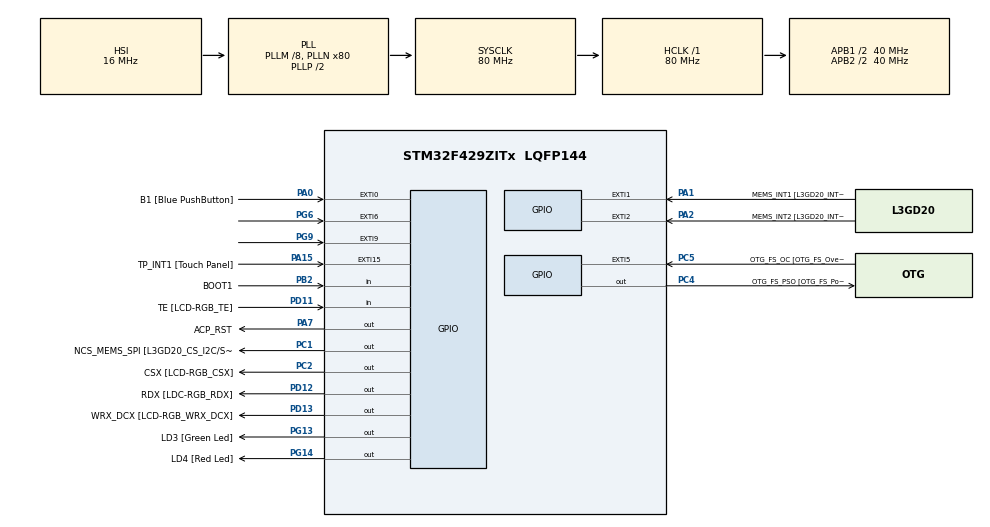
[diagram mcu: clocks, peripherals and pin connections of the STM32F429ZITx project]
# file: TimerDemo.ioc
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FREERTOS.Queues01=myQueue01,16,uint16_t,NULL,Dynamic,NULL,NULL
FREERTOS.Tasks01=defaultTask,0,128,StartDefaultTask,Default,NULL,Dynamic,NULL,NULL;queueProcessing,0,128,startQueueProcessing,Default,NULL,Dynamic,NULL,NULL
Mcu.Family=STM32F4
Mcu.Name=STM32F429ZITx
Mcu.Package=LQFP144
NVIC.EXTI9_5_IRQn=true\:5\:0\:false\:false\:true\:true\:true
NVIC.PriorityGroup=NVIC_PRIORITYGROUP_4
NVIC.TIM1_UP_TIM10_IRQn=true\:0\:0\:false\:false\:true\:false\:false
NVIC.TIM6_DAC_IRQn=true\:5\:0\:false\:false\:true\:true\:true
NVIC.TimeBase=TIM1_UP_TIM10_IRQn
NVIC.TimeBaseIP=TIM1
PA0/WKUP.GPIO_Label=B1 [Blue PushButton]
PA0/WKUP.GPIO_ModeDefaultEXTI=GPIO_MODE_EVT_RISING
PA0/WKUP.GPIO_PuPd=GPIO_NOPULL
PA0/WKUP.Signal=GPXTI0
PA1.GPIO_Label=MEMS_INT1 [L3GD20_INT1]
PA1.GPIO_ModeDefaultEXTI=GPIO_MODE_EVT_RISING
PA1.GPIO_PuPd=GPIO_NOPULL
PA1.Signal=GPXTI1
PA10.GPIO_Label=STLINK_TX [STM32F103CBT6_PA2]
PA10.Signal=USART1_RX
PA11.GPIO_Label=R4
PA11.GPIO_Mode=GPIO_MODE_AF_PP
PA11.GPIO_PuPd=GPIO_NOPULL
PA11.GPIO_Speed=GPIO_SPEED_FREQ_LOW
PA11.Signal=LTDC_R4
PA12.GPIO_Label=R5
PA12.GPIO_Mode=GPIO_MODE_AF_PP
PA12.GPIO_PuPd=GPIO_NOPULL
PA12.GPIO_Speed=GPIO_SPEED_FREQ_LOW
PA12.Signal=LTDC_R5
PA13.GPIO_Label=SWDIO
PA13.Mode=Serial_Wire
PA13.Signal=SYS_JTMS-SWDIO
PA14.GPIO_Label=SWCLK
PA14.Mode=Serial_Wire
PA14.Signal=SYS_JTCK-SWCLK
PA15.GPIO_Label=TP_INT1 [Touch Panel]
PA15.GPIO_ModeDefaultEXTI=GPIO_MODE_EVT_RISING
PA15.GPIO_PuPd=GPIO_NOPULL
PA15.Signal=GPXTI15
PA2.GPIO_Label=MEMS_INT2 [L3GD20_INT2]
PA2.GPIO_ModeDefaultEXTI=GPIO_MODE_EVT_RISING
PA2.GPIO_PuPd=GPIO_NOPULL
PA2.Signal=GPXTI2
PA3.GPIO_Label=B5
PA3.GPIO_Mode=GPIO_MODE_AF_PP
PA3.GPIO_PuPd=GPIO_NOPULL
PA3.GPIO_Speed=GPIO_SPEED_FREQ_LOW
PA3.Signal=LTDC_B5
PA4.GPIO_Label=VSYNC
PA4.GPIO_Mode=GPIO_MODE_AF_PP
PA4.GPIO_PuPd=GPIO_NOPULL
PA4.GPIO_Speed=GPIO_SPEED_FREQ_LOW
PA4.Signal=LTDC_VSYNC
PA6.GPIO_Label=G2
PA6.GPIO_Mode=GPIO_MODE_AF_PP
PA6.GPIO_PuPd=GPIO_NOPULL
PA6.GPIO_Speed=GPIO_SPEED_FREQ_LOW
PA6.Signal=LTDC_G2
PA7.GPIO_Label=ACP_RST
PA7.GPIO_Mode=GPIO_MODE_OUTPUT_PP
PA7.GPIO_PuPd=GPIO_NOPULL
PA7.GPIO_Speed=GPIO_SPEED_FREQ_LOW
PA7.Signal=GPIO_Output
PA8.GPIO_Label=I2C3_SCL [ACP/RF_SCL]
PA8.GPIO_Mode=GPIO_MODE_AF_OD
PA8.GPIO_PuPd=GPIO_NOPULL
PA8.GPIO_Speed=GPIO_SPEED_FREQ_LOW
PA8.Signal=I2C3_SCL
PA9.GPIO_Label=STLINK_RX [STM32F103CBT6_PA3]
PA9.Signal=USART1_TX
PB0.GPIO_Label=R3
PB0.GPIO_Mode=GPIO_MODE_AF_PP
PB0.GPIO_PuPd=GPIO_NOPULL
PB0.GPIO_Speed=GPIO_SPEED_FREQ_LOW
PB0.Signal=LTDC_R3
PB1.GPIO_Label=R6
PB1.GPIO_Mode=GPIO_MODE_AF_PP
PB1.GPIO_PuPd=GPIO_NOPULL
PB1.GPIO_Speed=GPIO_SPEED_FREQ_LOW
PB1.Signal=LTDC_R6
PB10.GPIO_Label=G4
PB10.GPIO_Mode=GPIO_MODE_AF_PP
PB10.GPIO_PuPd=GPIO_NOPULL
PB10.GPIO_Speed=GPIO_SPEED_FREQ_LOW
PB10.Signal=LTDC_G4
PB11.GPIO_Label=G5
PB11.GPIO_Mode=GPIO_MODE_AF_PP
PB11.GPIO_PuPd=GPIO_NOPULL
PB11.GPIO_Speed=GPIO_SPEED_FREQ_LOW
PB11.Signal=LTDC_G5
PB12.GPIO_Label=OTG_FS_ID
PB12.GPIO_Mode=GPIO_MODE_AF_PP
PB12.GPIO_PuPd=GPIO_NOPULL
PB12.GPIO_Speed=GPIO_SPEED_FREQ_LOW
PB12.Signal=USB_OTG_HS_ID
PB13.GPIO_Label=VBUS_FS
PB13.GPIO_Mode=GPIO_MODE_INPUT
PB13.GPIO_PuPd=GPIO_NOPULL
PB13.Signal=USB_OTG_HS_VBUS
PB14.GPIO_Label=OTG_FS_DM
PB14.GPIO_Mode=GPIO_MODE_AF_PP
PB14.GPIO_PuPd=GPIO_NOPULL
PB14.GPIO_Speed=GPIO_SPEED_FREQ_LOW
PB14.Signal=USB_OTG_HS_DM
PB15.GPIO_Label=OTG_FS_DP
PB15.GPIO_Mode=GPIO_MODE_AF_PP
PB15.GPIO_PuPd=GPIO_NOPULL
PB15.GPIO_Speed=GPIO_SPEED_FREQ_LOW
PB15.Signal=USB_OTG_HS_DP
PB2/BOOT1.GPIO_Label=BOOT1
PB2/BOOT1.GPIO_Mode=GPIO_MODE_INPUT
PB2/BOOT1.GPIO_PuPd=GPIO_NOPULL
PB2/BOOT1.Signal=GPIO_Input
PB5.GPIO_Label=SDCKE1
PB5.GPIO_Mode=GPIO_MODE_AF_PP
PB5.GPIO_PuPd=GPIO_NOPULL
PB5.GPIO_Speed=GPIO_SPEED_FREQ_VERY_HIGH
PB5.Signal=FMC_SDCKE1
PB6.GPIO_Label=SDNE1 [SDRAM_CS]
PB6.GPIO_Mode=GPIO_MODE_AF_PP
PB6.GPIO_PuPd=GPIO_NOPULL
PB6.GPIO_Speed=GPIO_SPEED_FREQ_VERY_HIGH
PB6.Signal=FMC_SDNE1
PB8.GPIO_Label=B6
PB8.GPIO_Mode=GPIO_MODE_AF_PP
PB8.GPIO_PuPd=GPIO_NOPULL
PB8.GPIO_Speed=GPIO_SPEED_FREQ_LOW
PB8.Signal=LTDC_B6
PB9.GPIO_Label=B7
PB9.GPIO_Mode=GPIO_MODE_AF_PP
PB9.GPIO_PuPd=GPIO_NOPULL
PB9.GPIO_Speed=GPIO_SPEED_FREQ_LOW
PB9.Signal=LTDC_B7
PC0.GPIO_Label=SDNWE
PC0.GPIO_Mode=GPIO_MODE_AF_PP
PC0.GPIO_PuPd=GPIO_NOPULL
PC0.GPIO_Speed=GPIO_SPEED_FREQ_VERY_HIGH
PC0.Signal=FMC_SDNWE
PC1.GPIO_Label=NCS_MEMS_SPI [L3GD20_CS_I2C/SPI]
PC1.GPIO_Mode=GPIO_MODE_OUTPUT_PP
PC1.GPIO_PuPd=GPIO_NOPULL
PC1.GPIO_Speed=GPIO_SPEED_FREQ_LOW
PC1.Signal=GPIO_Output
PC10.GPIO_Label=R2
PC10.GPIO_Mode=GPIO_MODE_AF_PP
PC10.GPIO_PuPd=GPIO_NOPULL
PC10.GPIO_Speed=GPIO_SPEED_FREQ_LOW
PC10.Signal=LTDC_R2
PC14/OSC32_IN.GPIO_Label=PC14-OSC32_IN
PC14/OSC32_IN.Signal=RCC_OSC32_IN
PC15/OSC32_OUT.GPIO_Label=PC15-OSC32_OUT
PC15/OSC32_OUT.Signal=RCC_OSC32_OUT
PC2.GPIO_Label=CSX [LCD-RGB_CSX]
PC2.GPIO_Mode=GPIO_MODE_OUTPUT_PP
PC2.GPIO_PuPd=GPIO_NOPULL
PC2.GPIO_Speed=GPIO_SPEED_FREQ_LOW
PC2.Signal=GPIO_Output
PC4.GPIO_Label=OTG_FS_PSO [OTG_FS_PowerSwitchOn]
PC4.GPIO_Mode=GPIO_MODE_OUTPUT_PP
PC4.GPIO_PuPd=GPIO_NOPULL
PC4.GPIO_Speed=GPIO_SPEED_FREQ_LOW
PC4.Signal=GPIO_Output
PC5.GPIO_Label=OTG_FS_OC [OTG_FS_OverCurrent]
PC5.GPIO_ModeDefaultEXTI=GPIO_MODE_EVT_RISING
PC5.Signal=GPXTI5
PC6.GPIO_Label=HSYNC
PC6.GPIO_Mode=GPIO_MODE_AF_PP
PC6.GPIO_PuPd=GPIO_NOPULL
PC6.GPIO_Speed=GPIO_SPEED_FREQ_LOW
PC6.Signal=LTDC_HSYNC
PC7.GPIO_Label=G6
PC7.GPIO_Mode=GPIO_MODE_AF_PP
PC7.GPIO_PuPd=GPIO_NOPULL
PC7.GPIO_Speed=GPIO_SPEED_FREQ_LOW
PC7.Signal=LTDC_G6
PC9.GPIO_Label=I2C3_SDA [ACP/RF_SDA]
PC9.GPIO_Mode=GPIO_MODE_AF_OD
PC9.GPIO_PuPd=GPIO_NOPULL
PC9.GPIO_Speed=GPIO_SPEED_FREQ_LOW
PC9.Signal=I2C3_SDA
PD0.GPIO_Label=D2
PD0.GPIO_Mode=GPIO_MODE_AF_PP
PD0.GPIO_PuPd=GPIO_NOPULL
PD0.GPIO_Speed=GPIO_SPEED_FREQ_VERY_HIGH
PD0.Signal=FMC_D2_DA2
PD1.GPIO_Label=D3
PD1.GPIO_Mode=GPIO_MODE_AF_PP
PD1.GPIO_PuPd=GPIO_NOPULL
PD1.GPIO_Speed=GPIO_SPEED_FREQ_VERY_HIGH
PD1.Signal=FMC_D3_DA3
PD10.GPIO_Label=D15
PD10.GPIO_Mode=GPIO_MODE_AF_PP
PD10.GPIO_PuPd=GPIO_NOPULL
PD10.GPIO_Speed=GPIO_SPEED_FREQ_VERY_HIGH
PD10.Signal=FMC_D15_DA15
PD11.GPIO_Label=TE [LCD-RGB_TE]
PD11.GPIO_Mode=GPIO_MODE_INPUT
PD11.GPIO_PuPd=GPIO_NOPULL
PD11.Signal=GPIO_Input
PD12.GPIO_Label=RDX [LDC-RGB_RDX]
PD12.GPIO_Mode=GPIO_MODE_OUTPUT_PP
PD12.GPIO_PuPd=GPIO_NOPULL
PD12.GPIO_Speed=GPIO_SPEED_FREQ_LOW
PD12.Signal=GPIO_Output
PD13.GPIO_Label=WRX_DCX [LCD-RGB_WRX_DCX]
PD13.GPIO_Mode=GPIO_MODE_OUTPUT_PP
PD13.GPIO_PuPd=GPIO_NOPULL
PD13.GPIO_Speed=GPIO_SPEED_FREQ_LOW
PD13.Signal=GPIO_Output
PD14.GPIO_Label=D0
PD14.GPIO_Mode=GPIO_MODE_AF_PP
PD14.GPIO_PuPd=GPIO_NOPULL
PD14.GPIO_Speed=GPIO_SPEED_FREQ_VERY_HIGH
PD14.Signal=FMC_D0_DA0
PD15.GPIO_Label=D1
PD15.GPIO_Mode=GPIO_MODE_AF_PP
PD15.GPIO_PuPd=GPIO_NOPULL
PD15.GPIO_Speed=GPIO_SPEED_FREQ_VERY_HIGH
PD15.Signal=FMC_D1_DA1
PD3.GPIO_Label=G7
PD3.GPIO_Mode=GPIO_MODE_AF_PP
PD3.GPIO_PuPd=GPIO_NOPULL
PD3.GPIO_Speed=GPIO_SPEED_FREQ_LOW
PD3.Signal=LTDC_G7
PD6.GPIO_Label=B2
PD6.GPIO_Mode=GPIO_MODE_AF_PP
PD6.GPIO_PuPd=GPIO_NOPULL
PD6.GPIO_Speed=GPIO_SPEED_FREQ_LOW
PD6.Signal=LTDC_B2
PD8.GPIO_Label=D13
PD8.GPIO_Mode=GPIO_MODE_AF_PP
PD8.GPIO_PuPd=GPIO_NOPULL
PD8.GPIO_Speed=GPIO_SPEED_FREQ_VERY_HIGH
PD8.Signal=FMC_D13_DA13
PD9.GPIO_Label=D14
PD9.GPIO_Mode=GPIO_MODE_AF_PP
PD9.GPIO_PuPd=GPIO_NOPULL
PD9.GPIO_Speed=GPIO_SPEED_FREQ_VERY_HIGH
PD9.Signal=FMC_D14_DA14
PE0.GPIO_Label=NBL0 [SDRAM_LDQM]
PE0.GPIO_Mode=GPIO_MODE_AF_PP
PE0.GPIO_PuPd=GPIO_NOPULL
PE0.GPIO_Speed=GPIO_SPEED_FREQ_VERY_HIGH
PE0.Signal=FMC_NBL0
PE1.GPIO_Label=NBL1 [SDRAM_UDQM]
PE1.GPIO_Mode=GPIO_MODE_AF_PP
PE1.GPIO_PuPd=GPIO_NOPULL
PE1.GPIO_Speed=GPIO_SPEED_FREQ_VERY_HIGH
PE1.Signal=FMC_NBL1
PE10.GPIO_Label=D7
PE10.GPIO_Mode=GPIO_MODE_AF_PP
PE10.GPIO_PuPd=GPIO_NOPULL
PE10.GPIO_Speed=GPIO_SPEED_FREQ_VERY_HIGH
PE10.Signal=FMC_D7_DA7
PE11.GPIO_Label=D8
PE11.GPIO_Mode=GPIO_MODE_AF_PP
PE11.GPIO_PuPd=GPIO_NOPULL
PE11.GPIO_Speed=GPIO_SPEED_FREQ_VERY_HIGH
PE11.Signal=FMC_D8_DA8
PE12.GPIO_Label=D9
PE12.GPIO_Mode=GPIO_MODE_AF_PP
PE12.GPIO_PuPd=GPIO_NOPULL
PE12.GPIO_Speed=GPIO_SPEED_FREQ_VERY_HIGH
PE12.Signal=FMC_D9_DA9
PE13.GPIO_Label=D10
PE13.GPIO_Mode=GPIO_MODE_AF_PP
PE13.GPIO_PuPd=GPIO_NOPULL
PE13.GPIO_Speed=GPIO_SPEED_FREQ_VERY_HIGH
PE13.Signal=FMC_D10_DA10
PE14.GPIO_Label=D11
PE14.GPIO_Mode=GPIO_MODE_AF_PP
PE14.GPIO_PuPd=GPIO_NOPULL
PE14.GPIO_Speed=GPIO_SPEED_FREQ_VERY_HIGH
PE14.Signal=FMC_D11_DA11
PE15.GPIO_Label=D12
PE15.GPIO_Mode=GPIO_MODE_AF_PP
PE15.GPIO_PuPd=GPIO_NOPULL
PE15.GPIO_Speed=GPIO_SPEED_FREQ_VERY_HIGH
PE15.Signal=FMC_D12_DA12
PE7.GPIO_Label=D4
PE7.GPIO_Mode=GPIO_MODE_AF_PP
PE7.GPIO_PuPd=GPIO_NOPULL
PE7.GPIO_Speed=GPIO_SPEED_FREQ_VERY_HIGH
PE7.Signal=FMC_D4_DA4
PE8.GPIO_Label=D5
PE8.GPIO_Mode=GPIO_MODE_AF_PP
PE8.GPIO_PuPd=GPIO_NOPULL
PE8.GPIO_Speed=GPIO_SPEED_FREQ_VERY_HIGH
PE8.Signal=FMC_D5_DA5
PE9.GPIO_Label=D6
PE9.GPIO_Mode=GPIO_MODE_AF_PP
PE9.GPIO_PuPd=GPIO_NOPULL
PE9.GPIO_Speed=GPIO_SPEED_FREQ_VERY_HIGH
PE9.Signal=FMC_D6_DA6
PF0.GPIO_Label=A0
PF0.GPIO_Mode=GPIO_MODE_AF_PP
PF0.GPIO_PuPd=GPIO_NOPULL
PF0.GPIO_Speed=GPIO_SPEED_FREQ_VERY_HIGH
PF0.Signal=FMC_A0
PF1.GPIO_Label=A1
PF1.GPIO_Mode=GPIO_MODE_AF_PP
PF1.GPIO_PuPd=GPIO_NOPULL
PF1.GPIO_Speed=GPIO_SPEED_FREQ_VERY_HIGH
PF1.Signal=FMC_A1
PF10.GPIO_Label=ENABLE [LCD-RGB_ENABLE]
PF10.GPIO_Mode=GPIO_MODE_AF_PP
PF10.GPIO_PuPd=GPIO_NOPULL
PF10.GPIO_Speed=GPIO_SPEED_FREQ_LOW
PF10.Signal=LTDC_DE
PF11.GPIO_Label=SDNRAS
PF11.GPIO_Mode=GPIO_MODE_AF_PP
PF11.GPIO_PuPd=GPIO_NOPULL
PF11.GPIO_Speed=GPIO_SPEED_FREQ_VERY_HIGH
PF11.Signal=FMC_SDNRAS
PF12.GPIO_Label=A6
PF12.GPIO_Mode=GPIO_MODE_AF_PP
PF12.GPIO_PuPd=GPIO_NOPULL
PF12.GPIO_Speed=GPIO_SPEED_FREQ_VERY_HIGH
PF12.Signal=FMC_A6
PF13.GPIO_Label=A7
PF13.GPIO_Mode=GPIO_MODE_AF_PP
PF13.GPIO_PuPd=GPIO_NOPULL
PF13.GPIO_Speed=GPIO_SPEED_FREQ_VERY_HIGH
PF13.Signal=FMC_A7
PF14.GPIO_Label=A8
PF14.GPIO_Mode=GPIO_MODE_AF_PP
PF14.GPIO_PuPd=GPIO_NOPULL
PF14.GPIO_Speed=GPIO_SPEED_FREQ_VERY_HIGH
PF14.Signal=FMC_A8
PF15.GPIO_Label=A9
PF15.GPIO_Mode=GPIO_MODE_AF_PP
PF15.GPIO_PuPd=GPIO_NOPULL
PF15.GPIO_Speed=GPIO_SPEED_FREQ_VERY_HIGH
PF15.Signal=FMC_A9
PF2.GPIO_Label=A2
PF2.GPIO_Mode=GPIO_MODE_AF_PP
PF2.GPIO_PuPd=GPIO_NOPULL
PF2.GPIO_Speed=GPIO_SPEED_FREQ_VERY_HIGH
PF2.Signal=FMC_A2
PF3.GPIO_Label=A3
PF3.GPIO_Mode=GPIO_MODE_AF_PP
PF3.GPIO_PuPd=GPIO_NOPULL
PF3.GPIO_Speed=GPIO_SPEED_FREQ_VERY_HIGH
PF3.Signal=FMC_A3
PF4.GPIO_Label=A4
PF4.GPIO_Mode=GPIO_MODE_AF_PP
PF4.GPIO_PuPd=GPIO_NOPULL
PF4.GPIO_Speed=GPIO_SPEED_FREQ_VERY_HIGH
PF4.Signal=FMC_A4
PF5.GPIO_Label=A5
PF5.GPIO_Mode=GPIO_MODE_AF_PP
PF5.GPIO_PuPd=GPIO_NOPULL
PF5.GPIO_Speed=GPIO_SPEED_FREQ_VERY_HIGH
PF5.Signal=FMC_A5
PF7.GPIO_Label=SPI5_SCK [L3GD20_SCL/SPC]
PF7.GPIO_Mode=GPIO_MODE_AF_PP
PF7.GPIO_PuPd=GPIO_NOPULL
PF7.GPIO_Speed=GPIO_SPEED_FREQ_LOW
PF7.Signal=SPI5_SCK
PF8.GPIO_Label=SPI5_MISO [L3GD20_SDO]
PF8.GPIO_Mode=GPIO_MODE_AF_PP
PF8.GPIO_PuPd=GPIO_NOPULL
PF8.GPIO_Speed=GPIO_SPEED_FREQ_LOW
PF8.Signal=SPI5_MISO
PF9.GPIO_Label=SPI5_MOSI [L3GD20_SDA/SDI/SDO]
PF9.GPIO_Mode=GPIO_MODE_AF_PP
PF9.GPIO_PuPd=GPIO_NOPULL
PF9.GPIO_Speed=GPIO_SPEED_FREQ_LOW
PF9.Signal=SPI5_MOSI
PG0.GPIO_Label=A10
PG0.GPIO_Mode=GPIO_MODE_AF_PP
PG0.GPIO_PuPd=GPIO_NOPULL
PG0.GPIO_Speed=GPIO_SPEED_FREQ_VERY_HIGH
PG0.Signal=FMC_A10
PG1.GPIO_Label=A11
PG1.GPIO_Mode=GPIO_MODE_AF_PP
PG1.GPIO_PuPd=GPIO_NOPULL
PG1.GPIO_Speed=GPIO_SPEED_FREQ_VERY_HIGH
PG1.Signal=FMC_A11
PG10.GPIO_Label=G3
PG10.GPIO_Mode=GPIO_MODE_AF_PP
PG10.GPIO_PuPd=GPIO_NOPULL
PG10.GPIO_Speed=GPIO_SPEED_FREQ_LOW
PG10.Signal=LTDC_G3
PG11.GPIO_Label=B3
PG11.GPIO_Mode=GPIO_MODE_AF_PP
PG11.GPIO_PuPd=GPIO_NOPULL
PG11.GPIO_Speed=GPIO_SPEED_FREQ_LOW
PG11.Signal=LTDC_B3
PG12.GPIO_Label=B4
PG12.GPIO_Mode=GPIO_MODE_AF_PP
PG12.GPIO_PuPd=GPIO_NOPULL
PG12.GPIO_Speed=GPIO_SPEED_FREQ_LOW
PG12.Signal=LTDC_B4
PG13.GPIO_Label=LD3 [Green Led]
PG13.GPIO_Mode=GPIO_MODE_OUTPUT_PP
PG13.GPIO_PuPd=GPIO_NOPULL
PG13.GPIO_Speed=GPIO_SPEED_FREQ_LOW
PG13.Signal=GPIO_Output
PG14.GPIO_Label=LD4 [Red Led]
PG14.GPIO_Mode=GPIO_MODE_OUTPUT_PP
PG14.GPIO_PuPd=GPIO_NOPULL
PG14.GPIO_Speed=GPIO_SPEED_FREQ_LOW
PG14.Signal=GPIO_Output
PG15.GPIO_Label=SDNCAS
PG15.GPIO_Mode=GPIO_MODE_AF_PP
PG15.GPIO_PuPd=GPIO_NOPULL
PG15.GPIO_Speed=GPIO_SPEED_FREQ_VERY_HIGH
PG15.Signal=FMC_SDNCAS
PG4.GPIO_Label=BA0
PG4.GPIO_Mode=GPIO_MODE_AF_PP
PG4.GPIO_PuPd=GPIO_NOPULL
PG4.GPIO_Speed=GPIO_SPEED_FREQ_VERY_HIGH
PG4.Signal=FMC_A14_BA0
PG5.GPIO_Label=BA1
PG5.GPIO_Mode=GPIO_MODE_AF_PP
PG5.GPIO_PuPd=GPIO_NOPULL
PG5.GPIO_Speed=GPIO_SPEED_FREQ_VERY_HIGH
PG5.Signal=FMC_A15_BA1
PG6.GPIO_ModeDefaultEXTI=GPIO_MODE_IT_FALLING
PG6.Signal=GPXTI6
PG7.GPIO_Label=DOTCLK [LCT-RGB_DOTCLK]
PG7.GPIO_Mode=GPIO_MODE_AF_PP
PG7.GPIO_PuPd=GPIO_NOPULL
PG7.GPIO_Speed=GPIO_SPEED_FREQ_LOW
PG7.Signal=LTDC_CLK
PG8.GPIO_Label=SDCLK
PG8.GPIO_Mode=GPIO_MODE_AF_PP
PG8.GPIO_PuPd=GPIO_NOPULL
PG8.GPIO_Speed=GPIO_SPEED_FREQ_VERY_HIGH
PG8.Signal=FMC_SDCLK
PG9.GPIO_ModeDefaultEXTI=GPIO_MODE_IT_FALLING
PG9.Signal=GPXTI9
PH0/OSC_IN.GPIO_Label=PH0-OSC_IN
PH0/OSC_IN.Signal=RCC_OSC_IN
PH1/OSC_OUT.GPIO_Label=PH1-OSC_OUT
PH1/OSC_OUT.Signal=RCC_OSC_OUT
ProjectManager.HeapSize=0x200
ProjectManager.StackSize=0x400
ProjectManager.TargetToolchain=SW4STM32
RCC.48MHZClocksFreq_Value=22857142.85714286
RCC.AHBFreq_Value=80000000
RCC.APB1CLKDivider=RCC_HCLK_DIV2
RCC.APB1Freq_Value=40000000
RCC.APB1TimFreq_Value=80000000
RCC.APB2CLKDivider=RCC_HCLK_DIV2
RCC.APB2Freq_Value=40000000
RCC.APB2TimFreq_Value=80000000
RCC.CortexFreq_Value=80000000
RCC.HCLKFreq_Value=80000000
RCC.HSE_VALUE=8000000
RCC.HSI_VALUE=16000000
RCC.LSE_VALUE=32768
RCC.PLLM=8
RCC.PLLN=80
RCC.PLLQ=7
RCC.SYSCLKFreq_VALUE=80000000
RCC.SYSCLKSource=RCC_SYSCLKSOURCE_PLLCLK
RCC.VCOOutputFreq_Value=160000000
SH.FMC_A0.0=FMC_A0
SH.FMC_A1.0=FMC_A1
SH.FMC_A10.0=FMC_A10
SH.FMC_A11.0=FMC_A11
SH.FMC_A14_BA0.0=FMC_BA0
SH.FMC_A15_BA1.0=FMC_BA1
SH.FMC_A2.0=FMC_A2
SH.FMC_A3.0=FMC_A3
SH.FMC_A4.0=FMC_A4
SH.FMC_A5.0=FMC_A5
SH.FMC_A6.0=FMC_A6
SH.FMC_A7.0=FMC_A7
SH.FMC_A8.0=FMC_A8
SH.FMC_A9.0=FMC_A9
SH.FMC_D0_DA0.0=FMC_D0
SH.FMC_D10_DA10.0=FMC_D10
SH.FMC_D11_DA11.0=FMC_D11
SH.FMC_D12_DA12.0=FMC_D12
SH.FMC_D13_DA13.0=FMC_D13
SH.FMC_D14_DA14.0=FMC_D14
SH.FMC_D15_DA15.0=FMC_D15
SH.FMC_D1_DA1.0=FMC_D1
SH.FMC_D2_DA2.0=FMC_D2
SH.FMC_D3_DA3.0=FMC_D3
SH.FMC_D4_DA4.0=FMC_D4
SH.FMC_D5_DA5.0=FMC_D5
SH.FMC_D6_DA6.0=FMC_D6
SH.FMC_D7_DA7.0=FMC_D7
SH.FMC_D8_DA8.0=FMC_D8
SH.FMC_D9_DA9.0=FMC_D9
SH.FMC_NBL0.0=FMC_NBL0
SH.FMC_NBL1.0=FMC_NBL1
SH.FMC_SDCLK.0=FMC_SDCLK
SH.FMC_SDNCAS.0=FMC_SDNCAS
SH.FMC_SDNRAS.0=FMC_SDNRAS
SH.FMC_SDNWE.0=FMC_SDNWE
TIM6.Period=1999
TIM6.Prescaler=39999
VP_FREERTOS_VS_ENABLE.Mode=Enabled
VP_SYS_VS_tim1.Mode=TIM1
VP_TIM6_VS_ClockSourceINT.Mode=Enable_Timer
board=STM32F429I-DISC1

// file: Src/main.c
/**
 ******************************************************************************
 * File Name          : main.c
 * Description        : Main program body
 ******************************************************************************
 * This notice applies to any and all portions of this file
 * that are not between comment pairs USER CODE BEGIN and
 * USER CODE END. Other portions of this file, whether
 * inserted by the user or by software development tools
 * are owned by their respective copyright owners.
 *
 * Copyright (c) 2017 STMicroelectronics International N.V.
 * All rights reserved.
 *
 * Redistribution and use in source and binary forms, with or without
 * modification, are permitted, provided that the following conditions are met:
 *
 * 1. Redistribution of source code must retain the above copyright notice,
 *    this list of conditions and the following disclaimer.
 * 2. Redistributions in binary form must reproduce the above copyright notice,
 *    this list of conditions and the following disclaimer in the documentation
 *    and/or other materials provided with the distribution.
 * 3. Neither the name of STMicroelectronics nor the names of other
 *    contributors to this software may be used to endorse or promote products
 *    derived from this software without specific written permission.
 * 4. This software, including modifications and/or derivative works of this
 *    software, must execute solely and exclusively on microcontroller or
 *    microprocessor devices manufactured by or for STMicroelectronics.
 * 5. Redistribution and use of this software other than as permitted under
 *    this license is void and will automatically terminate your rights under
 *    this license.
 *
 * THIS SOFTWARE IS PROVIDED BY STMICROELECTRONICS AND CONTRIBUTORS "AS IS"
 * AND ANY EXPRESS, IMPLIED OR STATUTORY WARRANTIES, INCLUDING, BUT NOT
 * LIMITED TO, THE IMPLIED WARRANTIES OF MERCHANTABILITY, FITNESS FOR A
 * PARTICULAR PURPOSE AND NON-INFRINGEMENT OF THIRD PARTY INTELLECTUAL PROPERTY
 * RIGHTS ARE DISCLAIMED TO THE FULLEST EXTENT PERMITTED BY LAW. IN NO EVENT
 * SHALL STMICROELECTRONICS OR CONTRIBUTORS BE LIABLE FOR ANY DIRECT, INDIRECT,
 * INCIDENTAL, SPECIAL, EXEMPLARY, OR CONSEQUENTIAL DAMAGES (INCLUDING, BUT NOT
 * LIMITED TO, PROCUREMENT OF SUBSTITUTE GOODS OR SERVICES; LOSS OF USE, DATA,
 * OR PROFITS; OR BUSINESS INTERRUPTION) HOWEVER CAUSED AND ON ANY THEORY OF
 * LIABILITY, WHETHER IN CONTRACT, STRICT LIABILITY, OR TORT (INCLUDING
 * NEGLIGENCE OR OTHERWISE) ARISING IN ANY WAY OUT OF THE USE OF THIS SOFTWARE,
 * EVEN IF ADVISED OF THE POSSIBILITY OF SUCH DAMAGE.
 *
 ******************************************************************************
 */

#include "main.h"
#include "stm32f4xx_hal.h"
#include "cmsis_os.h"

/* USER CODE BEGIN Includes */
#include "queue.h"
/* USER CODE END Includes */

TIM_HandleTypeDef htim6;

osThreadId defaultTaskHandle;
osThreadId queueProcessingHandle;
osMessageQId myQueue01Handle;

/* USER CODE BEGIN PV */
/* Private variables ---------------------------------------------------------*/
QueueHandle_t xQueue;

/* USER CODE END PV */

void SystemClock_Config(void);
static void MX_GPIO_Init(void);
static void MX_TIM6_Init(void);
void StartDefaultTask(void const * argument);
void startQueueProcessing(void const * argument);

/* USER CODE BEGIN PFP */
/* Private function prototypes -----------------------------------------------*/

/* USER CODE END PFP */

int main(void) {

	/* USER CODE BEGIN 1 */
	xQueue = xQueueCreate(5, sizeof(uint16_t));
	/* USER CODE END 1 */

	/* MCU Configuration----------------------------------------------------------*/

	/* Reset of all peripherals, Initializes the Flash interface and the Systick. */
	HAL_Init();

	/* Configure the system clock */
	SystemClock_Config();

	/* Initialize all configured peripherals */
	MX_GPIO_Init();
	MX_TIM6_Init();

	/* USER CODE BEGIN 2 */
	HAL_TIM_Base_Start_IT(&htim6);
	/* USER CODE END 2 */

	/* Create the thread(s) */
	/* definition and creation of defaultTask */
	osThreadDef(defaultTask, StartDefaultTask, osPriorityNormal, 0, 128);
	defaultTaskHandle = osThreadCreate(osThread(defaultTask), NULL);

	/* definition and creation of queueProcessing */
	osThreadDef(queueProcessing, startQueueProcessing, osPriorityNormal, 0,
			128);
	queueProcessingHandle = osThreadCreate(osThread(queueProcessing), NULL);

	/* Create the queue(s) */
	/* definition and creation of myQueue01 */
	osMessageQDef(myQueue01, 16, uint16_t);
	myQueue01Handle = osMessageCreate(osMessageQ(myQueue01), NULL);

	/* Start scheduler */
	osKernelStart();

	/* We should never get here as control is now taken by the scheduler */

	/* Infinite loop */
	while (1) {

	}

}

/** System Clock Configuration
 */
void SystemClock_Config(void) {

	RCC_OscInitTypeDef RCC_OscInitStruct;
	RCC_ClkInitTypeDef RCC_ClkInitStruct;

	/**Configure the main internal regulator output voltage
	 */
	__HAL_RCC_PWR_CLK_ENABLE()
	;

	__HAL_PWR_VOLTAGESCALING_CONFIG(PWR_REGULATOR_VOLTAGE_SCALE3);

	/**Initializes the CPU, AHB and APB busses clocks
	 */
	RCC_OscInitStruct.OscillatorType = RCC_OSCILLATORTYPE_HSI;
	RCC_OscInitStruct.HSIState = RCC_HSI_ON;
	RCC_OscInitStruct.HSICalibrationValue = 16;
	RCC_OscInitStruct.PLL.PLLState = RCC_PLL_ON;
	RCC_OscInitStruct.PLL.PLLSource = RCC_PLLSOURCE_HSI;
	RCC_OscInitStruct.PLL.PLLM = 8;
	RCC_OscInitStruct.PLL.PLLN = 80;
	RCC_OscInitStruct.PLL.PLLP = RCC_PLLP_DIV2;
	RCC_OscInitStruct.PLL.PLLQ = 7;
	if (HAL_RCC_OscConfig(&RCC_OscInitStruct) != HAL_OK) {
		_Error_Handler(__FILE__, __LINE__);
	}

	/**Initializes the CPU, AHB and APB busses clocks
	 */
	RCC_ClkInitStruct.ClockType = RCC_CLOCKTYPE_HCLK | RCC_CLOCKTYPE_SYSCLK
			| RCC_CLOCKTYPE_PCLK1 | RCC_CLOCKTYPE_PCLK2;
	RCC_ClkInitStruct.SYSCLKSource = RCC_SYSCLKSOURCE_PLLCLK;
	RCC_ClkInitStruct.AHBCLKDivider = RCC_SYSCLK_DIV1;
	RCC_ClkInitStruct.APB1CLKDivider = RCC_HCLK_DIV2;
	RCC_ClkInitStruct.APB2CLKDivider = RCC_HCLK_DIV2;

	if (HAL_RCC_ClockConfig(&RCC_ClkInitStruct, FLASH_LATENCY_2) != HAL_OK) {
		_Error_Handler(__FILE__, __LINE__);
	}

	/**Configure the Systick interrupt time
	 */
	HAL_SYSTICK_Config(HAL_RCC_GetHCLKFreq() / 1000);

	/**Configure the Systick
	 */
	HAL_SYSTICK_CLKSourceConfig(SYSTICK_CLKSOURCE_HCLK);

	/* SysTick_IRQn interrupt configuration */
	HAL_NVIC_SetPriority(SysTick_IRQn, 15, 0);
}

/* TIM6 init function */
static void MX_TIM6_Init(void) {

	TIM_MasterConfigTypeDef sMasterConfig;

	htim6.Instance = TIM6;
	htim6.Init.Prescaler = 39999;
	htim6.Init.CounterMode = TIM_COUNTERMODE_UP;
	htim6.Init.Period = 1999;
	if (HAL_TIM_Base_Init(&htim6) != HAL_OK) {
		_Error_Handler(__FILE__, __LINE__);
	}

	sMasterConfig.MasterOutputTrigger = TIM_TRGO_RESET;
	sMasterConfig.MasterSlaveMode = TIM_MASTERSLAVEMODE_DISABLE;
	if (HAL_TIMEx_MasterConfigSynchronization(&htim6, &sMasterConfig)
			!= HAL_OK) {
		_Error_Handler(__FILE__, __LINE__);
	}

}

/** Configure pins as
 * Analog
 * Input
 * Output
 * EVENT_OUT
 * EXTI
 PF0   ------> FMC_A0
 PF1   ------> FMC_A1
 PF2   ------> FMC_A2
 PF3   ------> FMC_A3
 PF4   ------> FMC_A4
 PF5   ------> FMC_A5
 PF7   ------> SPI5_SCK
 PF8   ------> SPI5_MISO
 PF9   ------> SPI5_MOSI
 PF10   ------> LTDC_DE
 PC0   ------> FMC_SDNWE
 PA3   ------> LTDC_B5
 PA4   ------> LTDC_VSYNC
 PA6   ------> LTDC_G2
 PB0   ------> LTDC_R3
 PB1   ------> LTDC_R6
 PF11   ------> FMC_SDNRAS
 PF12   ------> FMC_A6
 PF13   ------> FMC_A7
 PF14   ------> FMC_A8
 PF15   ------> FMC_A9
 PG0   ------> FMC_A10
 PG1   ------> FMC_A11
 PE7   ------> FMC_D4_DA4
 PE8   ------> FMC_D5_DA5
 PE9   ------> FMC_D6_DA6
 PE10   ------> FMC_D7_DA7
 PE11   ------> FMC_D8_DA8
 PE12   ------> FMC_D9_DA9
 PE13   ------> FMC_D10_DA10
 PE14   ------> FMC_D11_DA11
 PE15   ------> FMC_D12_DA12
 PB10   ------> LTDC_G4
 PB11   ------> LTDC_G5
 PB12   ------> USB_OTG_HS_ID
 PB13   ------> USB_OTG_HS_VBUS
 PB14   ------> USB_OTG_HS_DM
 PB15   ------> USB_OTG_HS_DP
 PD8   ------> FMC_D13_DA13
 PD9   ------> FMC_D14_DA14
 PD10   ------> FMC_D15_DA15
 PD14   ------> FMC_D0_DA0
 PD15   ------> FMC_D1_DA1
 PG4   ------> FMC_A14_BA0
 PG5   ------> FMC_A15_BA1
 PG7   ------> LTDC_CLK
 PG8   ------> FMC_SDCLK
 PC6   ------> LTDC_HSYNC
 PC7   ------> LTDC_G6
 PC9   ------> I2C3_SDA
 PA8   ------> I2C3_SCL
 PA9   ------> USART1_TX
 PA10   ------> USART1_RX
 PA11   ------> LTDC_R4
 PA12   ------> LTDC_R5
 PC10   ------> LTDC_R2
 PD0   ------> FMC_D2_DA2
 PD1   ------> FMC_D3_DA3
 PD3   ------> LTDC_G7
 PD6   ------> LTDC_B2
 PG10   ------> LTDC_G3
 PG11   ------> LTDC_B3
 PG12   ------> LTDC_B4
 PG15   ------> FMC_SDNCAS
 PB5   ------> FMC_SDCKE1
 PB6   ------> FMC_SDNE1
 PB8   ------> LTDC_B6
 PB9   ------> LTDC_B7
 PE0   ------> FMC_NBL0
 PE1   ------> FMC_NBL1
 */
static void MX_GPIO_Init(void) {

	GPIO_InitTypeDef GPIO_InitStruct;

	/* GPIO Ports Clock Enable */
	__HAL_RCC_GPIOC_CLK_ENABLE()
	;
	__HAL_RCC_GPIOF_CLK_ENABLE()
	;
	__HAL_RCC_GPIOH_CLK_ENABLE()
	;
	__HAL_RCC_GPIOA_CLK_ENABLE()
	;
	__HAL_RCC_GPIOB_CLK_ENABLE()
	;
	__HAL_RCC_GPIOG_CLK_ENABLE()
	;
	__HAL_RCC_GPIOE_CLK_ENABLE()
	;
	__HAL_RCC_GPIOD_CLK_ENABLE()
	;

	/*Configure GPIO pin Output Level */
	HAL_GPIO_WritePin(GPIOC, NCS_MEMS_SPI_Pin | CSX_Pin | OTG_FS_PSO_Pin,
			GPIO_PIN_RESET);

	/*Configure GPIO pin Output Level */
	HAL_GPIO_WritePin(ACP_RST_GPIO_Port, ACP_RST_Pin, GPIO_PIN_RESET);

	/*Configure GPIO pin Output Level */
	HAL_GPIO_WritePin(GPIOD, RDX_Pin | WRX_DCX_Pin, GPIO_PIN_RESET);

	/*Configure GPIO pin Output Level */
	HAL_GPIO_WritePin(GPIOG, LD3_Pin | LD4_Pin, GPIO_PIN_RESET);

	/*Configure GPIO pins : A0_Pin A1_Pin A2_Pin A3_Pin
	 A4_Pin A5_Pin SDNRAS_Pin A6_Pin
	 A7_Pin A8_Pin A9_Pin */
	GPIO_InitStruct.Pin = A0_Pin | A1_Pin | A2_Pin | A3_Pin | A4_Pin | A5_Pin
			| SDNRAS_Pin | A6_Pin | A7_Pin | A8_Pin | A9_Pin;
	GPIO_InitStruct.Mode = GPIO_MODE_AF_PP;
	GPIO_InitStruct.Pull = GPIO_NOPULL;
	GPIO_InitStruct.Speed = GPIO_SPEED_FREQ_VERY_HIGH;
	GPIO_InitStruct.Alternate = GPIO_AF12_FMC;
	HAL_GPIO_Init(GPIOF, &GPIO_InitStruct);

	/*Configure GPIO pins : SPI5_SCK_Pin SPI5_MISO_Pin SPI5_MOSI_Pin */
	GPIO_InitStruct.Pin = SPI5_SCK_Pin | SPI5_MISO_Pin | SPI5_MOSI_Pin;
	GPIO_InitStruct.Mode = GPIO_MODE_AF_PP;
	GPIO_InitStruct.Pull = GPIO_NOPULL;
	GPIO_InitStruct.Speed = GPIO_SPEED_FREQ_LOW;
	GPIO_InitStruct.Alternate = GPIO_AF5_SPI5;
	HAL_GPIO_Init(GPIOF, &GPIO_InitStruct);

	/*Configure GPIO pin : ENABLE_Pin */
	GPIO_InitStruct.Pin = ENABLE_Pin;
	GPIO_InitStruct.Mode = GPIO_MODE_AF_PP;
	GPIO_InitStruct.Pull = GPIO_NOPULL;
	GPIO_InitStruct.Speed = GPIO_SPEED_FREQ_LOW;
	GPIO_InitStruct.Alternate = GPIO_AF14_LTDC;
	HAL_GPIO_Init(ENABLE_GPIO_Port, &GPIO_InitStruct);

	/*Configure GPIO pin : SDNWE_Pin */
	GPIO_InitStruct.Pin = SDNWE_Pin;
	GPIO_InitStruct.Mode = GPIO_MODE_AF_PP;
	GPIO_InitStruct.Pull = GPIO_NOPULL;
	GPIO_InitStruct.Speed = GPIO_SPEED_FREQ_VERY_HIGH;
	GPIO_InitStruct.Alternate = GPIO_AF12_FMC;
	HAL_GPIO_Init(SDNWE_GPIO_Port, &GPIO_InitStruct);

	/*Configure GPIO pins : NCS_MEMS_SPI_Pin CSX_Pin OTG_FS_PSO_Pin */
	GPIO_InitStruct.Pin = NCS_MEMS_SPI_Pin | CSX_Pin | OTG_FS_PSO_Pin;
	GPIO_InitStruct.Mode = GPIO_MODE_OUTPUT_PP;
	GPIO_InitStruct.Pull = GPIO_NOPULL;
	GPIO_InitStruct.Speed = GPIO_SPEED_FREQ_LOW;
	HAL_GPIO_Init(GPIOC, &GPIO_InitStruct);

	/*Configure GPIO pins : B1_Pin MEMS_INT1_Pin MEMS_INT2_Pin TP_INT1_Pin */
	GPIO_InitStruct.Pin = B1_Pin | MEMS_INT1_Pin | MEMS_INT2_Pin | TP_INT1_Pin;
	GPIO_InitStruct.Mode = GPIO_MODE_EVT_RISING;
	GPIO_InitStruct.Pull = GPIO_NOPULL;
	HAL_GPIO_Init(GPIOA, &GPIO_InitStruct);

	/*Configure GPIO pins : B5_Pin VSYNC_Pin G2_Pin R4_Pin
	 R5_Pin */
	GPIO_InitStruct.Pin = B5_Pin | VSYNC_Pin | G2_Pin | R4_Pin | R5_Pin;
	GPIO_InitStruct.Mode = GPIO_MODE_AF_PP;
	GPIO_InitStruct.Pull = GPIO_NOPULL;
	GPIO_InitStruct.Speed = GPIO_SPEED_FREQ_LOW;
	GPIO_InitStruct.Alternate = GPIO_AF14_LTDC;
	HAL_GPIO_Init(GPIOA, &GPIO_InitStruct);

	/*Configure GPIO pin : ACP_RST_Pin */
	GPIO_InitStruct.Pin = ACP_RST_Pin;
	GPIO_InitStruct.Mode = GPIO_MODE_OUTPUT_PP;
	GPIO_InitStruct.Pull = GPIO_NOPULL;
	GPIO_InitStruct.Speed = GPIO_SPEED_FREQ_LOW;
	HAL_GPIO_Init(ACP_RST_GPIO_Port, &GPIO_InitStruct);

	/*Configure GPIO pin : OTG_FS_OC_Pin */
	GPIO_InitStruct.Pin = OTG_FS_OC_Pin;
	GPIO_InitStruct.Mode = GPIO_MODE_EVT_RISING;
	GPIO_InitStruct.Pull = GPIO_NOPULL;
	HAL_GPIO_Init(OTG_FS_OC_GPIO_Port, &GPIO_InitStruct);

	/*Configure GPIO pins : R3_Pin R6_Pin */
	GPIO_InitStruct.Pin = R3_Pin | R6_Pin;
	GPIO_InitStruct.Mode = GPIO_MODE_AF_PP;
	GPIO_InitStruct.Pull = GPIO_NOPULL;
	GPIO_InitStruct.Speed = GPIO_SPEED_FREQ_LOW;
	GPIO_InitStruct.Alternate = GPIO_AF9_LTDC;
	HAL_GPIO_Init(GPIOB, &GPIO_InitStruct);

	/*Configure GPIO pin : BOOT1_Pin */
	GPIO_InitStruct.Pin = BOOT1_Pin;
	GPIO_InitStruct.Mode = GPIO_MODE_INPUT;
	GPIO_InitStruct.Pull = GPIO_NOPULL;
	HAL_GPIO_Init(BOOT1_GPIO_Port, &GPIO_InitStruct);

	/*Configure GPIO pins : A10_Pin A11_Pin BA0_Pin BA1_Pin
	 SDCLK_Pin SDNCAS_Pin */
	GPIO_InitStruct.Pin = A10_Pin | A11_Pin | BA0_Pin | BA1_Pin | SDCLK_Pin
			| SDNCAS_Pin;
	GPIO_InitStruct.Mode = GPIO_MODE_AF_PP;
	GPIO_InitStruct.Pull = GPIO_NOPULL;
	GPIO_InitStruct.Speed = GPIO_SPEED_FREQ_VERY_HIGH;
	GPIO_InitStruct.Alternate = GPIO_AF12_FMC;
	HAL_GPIO_Init(GPIOG, &GPIO_InitStruct);

	/*Configure GPIO pins : D4_Pin D5_Pin D6_Pin D7_Pin
	 D8_Pin D9_Pin D10_Pin D11_Pin
	 D12_Pin NBL0_Pin NBL1_Pin */
	GPIO_InitStruct.Pin = D4_Pin | D5_Pin | D6_Pin | D7_Pin | D8_Pin | D9_Pin
			| D10_Pin | D11_Pin | D12_Pin | NBL0_Pin | NBL1_Pin;
	GPIO_InitStruct.Mode = GPIO_MODE_AF_PP;
	GPIO_InitStruct.Pull = GPIO_NOPULL;
	GPIO_InitStruct.Speed = GPIO_SPEED_FREQ_VERY_HIGH;
	GPIO_InitStruct.Alternate = GPIO_AF12_FMC;
	HAL_GPIO_Init(GPIOE, &GPIO_InitStruct);

	/*Configure GPIO pins : G4_Pin G5_Pin B6_Pin B7_Pin */
	GPIO_InitStruct.Pin = G4_Pin | G5_Pin | B6_Pin | B7_Pin;
	GPIO_InitStruct.Mode = GPIO_MODE_AF_PP;
	GPIO_InitStruct.Pull = GPIO_NOPULL;
	GPIO_InitStruct.Speed = GPIO_SPEED_FREQ_LOW;
	GPIO_InitStruct.Alternate = GPIO_AF14_LTDC;
	HAL_GPIO_Init(GPIOB, &GPIO_InitStruct);

	/*Configure GPIO pins : OTG_FS_ID_Pin OTG_FS_DM_Pin OTG_FS_DP_Pin */
	GPIO_InitStruct.Pin = OTG_FS_ID_Pin | OTG_FS_DM_Pin | OTG_FS_DP_Pin;
	GPIO_InitStruct.Mode = GPIO_MODE_AF_PP;
	GPIO_InitStruct.Pull = GPIO_NOPULL;
	GPIO_InitStruct.Speed = GPIO_SPEED_FREQ_LOW;
	GPIO_InitStruct.Alternate = GPIO_AF12_OTG_HS_FS;
	HAL_GPIO_Init(GPIOB, &GPIO_InitStruct);

	/*Configure GPIO pin : VBUS_FS_Pin */
	GPIO_InitStruct.Pin = VBUS_FS_Pin;
	GPIO_InitStruct.Mode = GPIO_MODE_INPUT;
	GPIO_InitStruct.Pull = GPIO_NOPULL;
	HAL_GPIO_Init(VBUS_FS_GPIO_Port, &GPIO_InitStruct);

	/*Configure GPIO pins : D13_Pin D14_Pin D15_Pin D0_Pin
	 D1_Pin D2_Pin D3_Pin */
	GPIO_InitStruct.Pin = D13_Pin | D14_Pin | D15_Pin | D0_Pin | D1_Pin | D2_Pin
			| D3_Pin;
	GPIO_InitStruct.Mode = GPIO_MODE_AF_PP;
	GPIO_InitStruct.Pull = GPIO_NOPULL;
	GPIO_InitStruct.Speed = GPIO_SPEED_FREQ_VERY_HIGH;
	GPIO_InitStruct.Alternate = GPIO_AF12_FMC;
	HAL_GPIO_Init(GPIOD, &GPIO_InitStruct);

	/*Configure GPIO pin : TE_Pin */
	GPIO_InitStruct.Pin = TE_Pin;
	GPIO_InitStruct.Mode = GPIO_MODE_INPUT;
	GPIO_InitStruct.Pull = GPIO_NOPULL;
	HAL_GPIO_Init(TE_GPIO_Port, &GPIO_InitStruct);

	/*Configure GPIO pins : RDX_Pin WRX_DCX_Pin */
	GPIO_InitStruct.Pin = RDX_Pin | WRX_DCX_Pin;
	GPIO_InitStruct.Mode = GPIO_MODE_OUTPUT_PP;
	GPIO_InitStruct.Pull = GPIO_NOPULL;
	GPIO_InitStruct.Speed = GPIO_SPEED_FREQ_LOW;
	HAL_GPIO_Init(GPIOD, &GPIO_InitStruct);

	/*Configure GPIO pins : PG6 PG9 */
	GPIO_InitStruct.Pin = GPIO_PIN_6 | GPIO_PIN_9;
	GPIO_InitStruct.Mode = GPIO_MODE_IT_FALLING;
	GPIO_InitStruct.Pull = GPIO_NOPULL;
	HAL_GPIO_Init(GPIOG, &GPIO_InitStruct);

	/*Configure GPIO pins : DOTCLK_Pin B3_Pin */
	GPIO_InitStruct.Pin = DOTCLK_Pin | B3_Pin;
	GPIO_InitStruct.Mode = GPIO_MODE_AF_PP;
	GPIO_InitStruct.Pull = GPIO_NOPULL;
	GPIO_InitStruct.Speed = GPIO_SPEED_FREQ_LOW;
	GPIO_InitStruct.Alternate = GPIO_AF14_LTDC;
	HAL_GPIO_Init(GPIOG, &GPIO_InitStruct);

	/*Configure GPIO pins : HSYNC_Pin G6_Pin R2_Pin */
	GPIO_InitStruct.Pin = HSYNC_Pin | G6_Pin | R2_Pin;
	GPIO_InitStruct.Mode = GPIO_MODE_AF_PP;
	GPIO_InitStruct.Pull = GPIO_NOPULL;
	GPIO_InitStruct.Speed = GPIO_SPEED_FREQ_LOW;
	GPIO_InitStruct.Alternate = GPIO_AF14_LTDC;
	HAL_GPIO_Init(GPIOC, &GPIO_InitStruct);

	/*Configure GPIO pin : I2C3_SDA_Pin */
	GPIO_InitStruct.Pin = I2C3_SDA_Pin;
	GPIO_InitStruct.Mode = GPIO_MODE_AF_OD;
	GPIO_InitStruct.Pull = GPIO_PULLUP;
	GPIO_InitStruct.Speed = GPIO_SPEED_FREQ_LOW;
	GPIO_InitStruct.Alternate = GPIO_AF4_I2C3;
	HAL_GPIO_Init(I2C3_SDA_GPIO_Port, &GPIO_InitStruct);

	/*Configure GPIO pin : I2C3_SCL_Pin */
	GPIO_InitStruct.Pin = I2C3_SCL_Pin;
	GPIO_InitStruct.Mode = GPIO_MODE_AF_OD;
	GPIO_InitStruct.Pull = GPIO_PULLUP;
	GPIO_InitStruct.Speed = GPIO_SPEED_FREQ_LOW;
	GPIO_InitStruct.Alternate = GPIO_AF4_I2C3;
	HAL_GPIO_Init(I2C3_SCL_GPIO_Port, &GPIO_InitStruct);

	/*Configure GPIO pins : STLINK_RX_Pin STLINK_TX_Pin */
	GPIO_InitStruct.Pin = STLINK_RX_Pin | STLINK_TX_Pin;
	GPIO_InitStruct.Mode = GPIO_MODE_AF_PP;
	GPIO_InitStruct.Pull = GPIO_NOPULL;
	GPIO_InitStruct.Speed = GPIO_SPEED_FREQ_VERY_HIGH;
	GPIO_InitStruct.Alternate = GPIO_AF7_USART1;
	HAL_GPIO_Init(GPIOA, &GPIO_InitStruct);

	/*Configure GPIO pins : G7_Pin B2_Pin */
	GPIO_InitStruct.Pin = G7_Pin | B2_Pin;
	GPIO_InitStruct.Mode = GPIO_MODE_AF_PP;
	GPIO_InitStruct.Pull = GPIO_NOPULL;
	GPIO_InitStruct.Speed = GPIO_SPEED_FREQ_LOW;
	GPIO_InitStruct.Alternate = GPIO_AF14_LTDC;
	HAL_GPIO_Init(GPIOD, &GPIO_InitStruct);

	/*Configure GPIO pins : G3_Pin B4_Pin */
	GPIO_InitStruct.Pin = G3_Pin | B4_Pin;
	GPIO_InitStruct.Mode = GPIO_MODE_AF_PP;
	GPIO_InitStruct.Pull = GPIO_NOPULL;
	GPIO_InitStruct.Speed = GPIO_SPEED_FREQ_LOW;
	GPIO_InitStruct.Alternate = GPIO_AF9_LTDC;
	HAL_GPIO_Init(GPIOG, &GPIO_InitStruct);

	/*Configure GPIO pins : LD3_Pin LD4_Pin */
	GPIO_InitStruct.Pin = LD3_Pin | LD4_Pin;
	GPIO_InitStruct.Mode = GPIO_MODE_OUTPUT_PP;
	GPIO_InitStruct.Pull = GPIO_NOPULL;
	GPIO_InitStruct.Speed = GPIO_SPEED_FREQ_LOW;
	HAL_GPIO_Init(GPIOG, &GPIO_InitStruct);

	/*Configure GPIO pins : SDCKE1_Pin SDNE1_Pin */
	GPIO_InitStruct.Pin = SDCKE1_Pin | SDNE1_Pin;
	GPIO_InitStruct.Mode = GPIO_MODE_AF_PP;
	GPIO_InitStruct.Pull = GPIO_NOPULL;
	GPIO_InitStruct.Speed = GPIO_SPEED_FREQ_VERY_HIGH;
	GPIO_InitStruct.Alternate = GPIO_AF12_FMC;
	HAL_GPIO_Init(GPIOB, &GPIO_InitStruct);

	/* EXTI interrupt init*/
	HAL_NVIC_SetPriority(EXTI9_5_IRQn, 5, 0);
	HAL_NVIC_EnableIRQ(EXTI9_5_IRQn);

}

/* USER CODE BEGIN 4 */
void HAL_GPIO_EXTI_Callback(uint16_t GPIO_Pin) {

	BaseType_t xHigherPriorityTaskWoken = pdFALSE;
	xQueueSendFromISR(xQueue, (void*) &GPIO_Pin, &xHigherPriorityTaskWoken);
	//xQueueSend(xQueue, (void*) &GPIO_Pin, 0);

//	HAL_GPIO_TogglePin(GPIOG, GPIO_PIN_14);
//	if (GPIO_Pin == GPIO_PIN_6) {
//		HAL_GPIO_WritePin(GPIOG, GPIO_PIN_14, GPIO_PIN_SET);
//	} else if (GPIO_Pin == GPIO_PIN_9) {
//		HAL_GPIO_WritePin(GPIOG, GPIO_PIN_14, GPIO_PIN_RESET);
//	}

//	BaseType_t checkIfVieldRequired;
//	checkIfVieldRequired = xTaskResumeFromISR(queueProcessingHandle);
//	portYIELD_FROM_ISR(checkIfVieldRequired);

}

/* USER CODE END 4 */

/* StartDefaultTask function */
void StartDefaultTask(void const * argument) {

	/* USER CODE BEGIN 5 */
	for (;;) {
		osDelay(1259);
	}
	/* USER CODE END 5 */
}

/* startQueueProcessing function */
void startQueueProcessing(void const * argument) {
	/* USER CODE BEGIN startQueueProcessing */
	/* Infinite loop */
	uint16_t My_GPIO_Pin;
	for (;;) {
		if (xQueue != 0) {
			if (xQueueReceive(xQueue, &My_GPIO_Pin, 20)) {
				HAL_GPIO_TogglePin(GPIOG, GPIO_PIN_14);
				if (My_GPIO_Pin == GPIO_PIN_6) {
					HAL_GPIO_WritePin(GPIOG, GPIO_PIN_14, GPIO_PIN_SET);
				} else if (My_GPIO_Pin == GPIO_PIN_9) {
					HAL_GPIO_WritePin(GPIOG, GPIO_PIN_14, GPIO_PIN_RESET);
				}
			}
		}
		osDelay(1);
	}
	/* USER CODE END startQueueProcessing */
}

void HAL_TIM_PeriodElapsedCallback(TIM_HandleTypeDef *htim) {
	if (htim->Instance == TIM1) {
		HAL_IncTick();
	}
	/* USER CODE BEGIN Callback 1 */
	if (htim->Instance == TIM6) {
		HAL_GPIO_TogglePin(GPIOG, GPIO_PIN_13);
	}
	/* USER CODE END Callback 1 */
}

void _Error_Handler(char * file, int line) {
	while (1) {
	}
}

/************************ (C) COPYRIGHT STMicroelectronics *****END OF FILE****/
